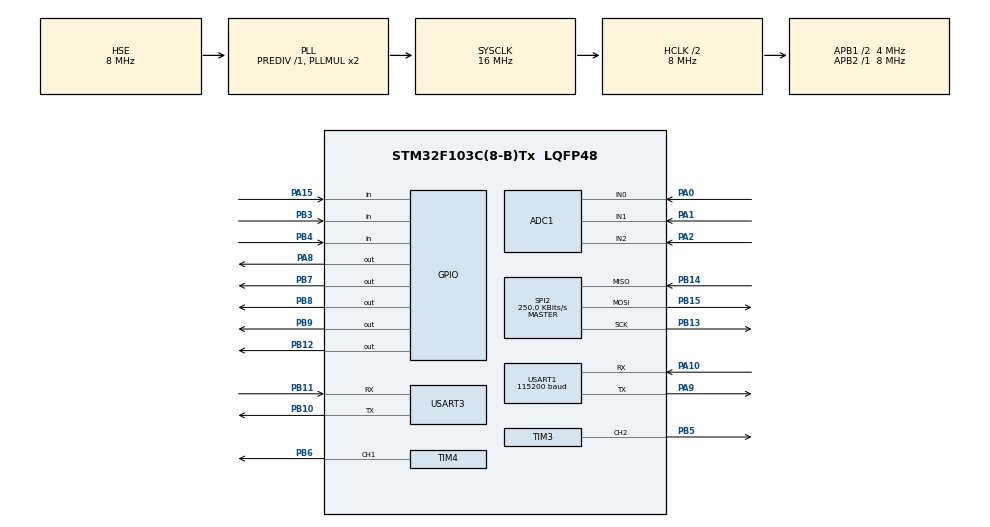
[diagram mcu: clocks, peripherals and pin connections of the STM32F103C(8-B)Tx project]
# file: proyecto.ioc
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ADC1.Channel-0\#ChannelRegularConversion=ADC_CHANNEL_0
ADC1.Channel-1\#ChannelRegularConversion=ADC_CHANNEL_1
ADC1.Channel-2\#ChannelRegularConversion=ADC_CHANNEL_2
ADC1.ContinuousConvMode=ENABLE
ADC1.NbrOfConversion=3
ADC1.NbrOfConversionFlag=1
ADC1.Rank-0\#ChannelRegularConversion=1
ADC1.Rank-1\#ChannelRegularConversion=2
ADC1.Rank-2\#ChannelRegularConversion=3
ADC1.SamplingTime-0\#ChannelRegularConversion=ADC_SAMPLETIME_55CYCLES_5
ADC1.SamplingTime-1\#ChannelRegularConversion=ADC_SAMPLETIME_55CYCLES_5
ADC1.SamplingTime-2\#ChannelRegularConversion=ADC_SAMPLETIME_55CYCLES_5
ADC1.master=1
FREERTOS.Tasks01=defaultTask,0,128,StartDefaultTask,Default,NULL,Dynamic,NULL,NULL
Mcu.Family=STM32F1
Mcu.Name=STM32F103C(8-B)Tx
Mcu.Package=LQFP48
NVIC.ADC1_2_IRQn=true\:5\:0\:false\:false\:true\:true\:true\:true\:true
NVIC.PriorityGroup=NVIC_PRIORITYGROUP_4
NVIC.USART3_IRQn=true\:5\:0\:false\:false\:true\:true\:true\:true\:true
PA0-WKUP.Signal=ADCx_IN0
PA1.Signal=ADCx_IN1
PA10.Mode=Asynchronous
PA10.Signal=USART1_RX
PA13.Mode=Serial_Wire
PA13.Signal=SYS_JTMS-SWDIO
PA14.Mode=Serial_Wire
PA14.Signal=SYS_JTCK-SWCLK
PA15.GPIO_PuPd=GPIO_PULLDOWN
PA15.Signal=GPIO_Input
PA2.Signal=ADCx_IN2
PA8.Signal=GPIO_Output
PA9.Mode=Asynchronous
PA9.Signal=USART1_TX
PB10.Mode=Asynchronous
PB10.Signal=USART3_TX
PB11.Mode=Asynchronous
PB11.Signal=USART3_RX
PB12.Signal=GPIO_Output
PB13.Mode=Full_Duplex_Master
PB13.Signal=SPI2_SCK
PB14.Mode=Full_Duplex_Master
PB14.Signal=SPI2_MISO
PB15.Mode=Full_Duplex_Master
PB15.Signal=SPI2_MOSI
PB3.GPIO_PuPd=GPIO_PULLDOWN
PB3.Signal=GPIO_Input
PB4.GPIO_PuPd=GPIO_PULLDOWN
PB4.Signal=GPIO_Input
PB5.Signal=S_TIM3_CH2
PB6.Signal=S_TIM4_CH1
PB7.Signal=GPIO_Output
PB8.Signal=GPIO_Output
PB9.Signal=GPIO_Output
PD0-OSC_IN.Mode=HSE-External-Oscillator
PD0-OSC_IN.Signal=RCC_OSC_IN
PD1-OSC_OUT.Mode=HSE-External-Oscillator
PD1-OSC_OUT.Signal=RCC_OSC_OUT
ProjectManager.HeapSize=0x200
ProjectManager.StackSize=0x400
ProjectManager.TargetToolchain=STM32CubeIDE
RCC.ADCPresc=RCC_ADCPCLK2_DIV6
RCC.AHBCLKDivider=RCC_SYSCLK_DIV2
RCC.AHBFreq_Value=8000000
RCC.APB1CLKDivider=RCC_HCLK_DIV2
RCC.APB1Freq_Value=4000000
RCC.APB1TimFreq_Value=8000000
RCC.APB2Freq_Value=8000000
RCC.APB2TimFreq_Value=8000000
RCC.HCLKFreq_Value=8000000
RCC.PLLSourceVirtual=RCC_PLLSOURCE_HSE
RCC.SYSCLKFreq_VALUE=16000000
RCC.SYSCLKSource=RCC_SYSCLKSOURCE_PLLCLK
RCC.USBFreq_Value=16000000
SH.ADCx_IN0.0=ADC1_IN0,IN0
SH.ADCx_IN1.0=ADC1_IN1,IN1
SH.ADCx_IN2.0=ADC1_IN2,IN2
SH.S_TIM3_CH2.0=TIM3_CH2,PWM Generation2 CH2
SH.S_TIM4_CH1.0=TIM4_CH1,PWM Generation1 CH1
SPI2.BaudRatePrescaler=SPI_BAUDRATEPRESCALER_16
SPI2.CalculateBaudRate=250.0 KBits/s
SPI2.DataSize=SPI_DATASIZE_8BIT
SPI2.Direction=SPI_DIRECTION_2LINES
SPI2.Mode=SPI_MODE_MASTER
SPI2.VirtualType=VM_MASTER
TIM3.Channel-PWM\ Generation2\ CH2=TIM_CHANNEL_2
TIM3.Period=255
TIM3.Prescaler=2
TIM4.Channel-PWM\ Generation1\ CH1=TIM_CHANNEL_1
TIM4.Period=255
TIM4.Prescaler=2
USART1.BaudRate=115200
USART1.VirtualMode=VM_ASYNC
USART3.VirtualMode=VM_ASYNC
VP_FREERTOS_VS_CMSIS_V1.Mode=CMSIS_V1
board=custom

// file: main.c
/* USER CODE BEGIN Header */
/**
  ******************************************************************************
  * @file           : main.c
  * @brief          : Main program body
  ******************************************************************************
  * @attention
  *
  * <h2><center>&copy; Copyright (c) 2025 STMicroelectronics.
  * All rights reserved.</center></h2>
  *
  * This software component is licensed by ST under BSD 3-Clause license,
  * the "License"; You may not use this file except in compliance with the
  * License. You may obtain a copy of the License at:
  *                        opensource.org/licenses/BSD-3-Clause
  *
  ******************************************************************************
  */
/* USER CODE END Header */
#include "main.h"
#include "cmsis_os.h"

/* USER CODE BEGIN Includes */
#include <string.h>
#include <stdlib.h>
#include "bmp280.h"

/* USER CODE END Includes */

ADC_HandleTypeDef hadc1;

SPI_HandleTypeDef hspi2;

TIM_HandleTypeDef htim3;
TIM_HandleTypeDef htim4;

UART_HandleTypeDef huart1;
UART_HandleTypeDef huart3;

osThreadId defaultTaskHandle;
/* USER CODE BEGIN PV */
osThreadId uart1TaskHandle;
osThreadId uart3TaskHandle;
osThreadId entradasDatosTaskHandle;
osThreadId salidasDatosTaskHandle;
/* USER CODE END PV */

void SystemClock_Config(void);
static void MX_GPIO_Init(void);
static void MX_USART3_UART_Init(void);
static void MX_SPI2_Init(void);
static void MX_ADC1_Init(void);
static void MX_TIM3_Init(void);
static void MX_TIM4_Init(void);
static void MX_USART1_UART_Init(void);

/* USER CODE BEGIN PFP */

void StartUart1Task(void const * argument);
void StartUart3Task(void const * argument);
void StartEntradasDatosTask(void const * argument);
void StartSalidasDatosTask(void const * argument);
/* USER CODE END PFP */

/* USER CODE BEGIN 0 */
#define STX 2

volatile uint8_t transmitiendo_tx3 = 0; // bandera para transmitir un mensaje a la vez por TX3
uint8_t crc_valido = 0;

// Cadena de bytes de transmision para serial
// 1 byte de start
// 6 bytes entradas analogicas
// 1 byte entradas digitales
// 1 byte temperatura en grados
// 2 bytes presión en hPa
// 1 byte de CRC
uint8_t transmision[12] = {STX, 0, 0, 0, 0, 0, 0, 0, 0, 0, 0, 0};

// Cadena de bytes de recepcion para serial

// 1 byte salidas
// 2 bytes PWM
// 1 byte de CRC
uint8_t recepcion[5] = {STX, 0, 0, 0, 0};

uint8_t calcular_crc(uint8_t* cadena, uint8_t longitud) {

	const uint8_t poly = 0x07;
	uint8_t crc = 0x00;
	for (size_t i = 0; i < longitud; ++i) {
		crc ^= cadena[i];
		for (uint8_t j = 0; j < 8; ++j) {
			if (crc & 0x80)
				crc = (crc << 1) ^ poly;
			else
				crc <<= 1;
		}
	}
	return crc;
}

void HAL_UART_RxCpltCallback(UART_HandleTypeDef *huart)
{
	// Verificar CRC
	crc_valido = calcular_crc(recepcion, sizeof(recepcion)) == recepcion[4];

	HAL_UART_Receive_IT(huart, recepcion, sizeof(recepcion)); // volver a esperar datos
}

void HAL_UART_TxCpltCallback(UART_HandleTypeDef *huart)
{
	// Se ejecuta cuando la transmisión finaliza
	if (huart->Instance == USART3)
  {
		transmitiendo_tx3 = 0; // Establece la bandera cuando la transmisión finaliza
  }
}

/* USER CODE END 0 */

int main(void)
{

  /* MCU Configuration--------------------------------------------------------*/

  /* Reset of all peripherals, Initializes the Flash interface and the Systick. */
  HAL_Init();

  /* Configure the system clock */
  SystemClock_Config();

  /* Initialize all configured peripherals */
  MX_GPIO_Init();
  MX_USART3_UART_Init();
  MX_SPI2_Init();
  MX_ADC1_Init();
  MX_TIM3_Init();
  MX_TIM4_Init();
  MX_USART1_UART_Init();
  /* USER CODE BEGIN 2 */

  // Inicialización timers PWM
  HAL_TIM_PWM_Start(&htim3, TIM_CHANNEL_2);  // PB5
  HAL_TIM_PWM_Start(&htim4, TIM_CHANNEL_1);  // PB6

  HAL_ADC_Start(&hadc1);  // Inicia la conversión continua

  // Inicio sensor BMP280
  //BMP280_Init(&hspi2, GPIOB, GPIO_PIN_12);

  /* USER CODE END 2 */

  /* USER CODE BEGIN RTOS_THREADS */
  /* add threads, ... */
  osThreadDef(uart3Task, StartUart3Task, osPriorityHigh, 0, 128);
  uart3TaskHandle = osThreadCreate(osThread(uart3Task), NULL);

  osThreadDef(uart1Task, StartUart1Task, osPriorityHigh, 0, 128);
  uart1TaskHandle = osThreadCreate(osThread(uart1Task), NULL);

  osThreadDef(salidasDatosTask, StartSalidasDatosTask, osPriorityNormal, 0, 128);
  salidasDatosTaskHandle = osThreadCreate(osThread(salidasDatosTask), NULL);

  osThreadDef(entradasDatosTask, StartEntradasDatosTask, osPriorityNormal, 0, 128);
  entradasDatosTaskHandle = osThreadCreate(osThread(entradasDatosTask), NULL);

  /* USER CODE END RTOS_THREADS */

  /* Start scheduler */
  osKernelStart();

  /* We should never get here as control is now taken by the scheduler */

  /* Infinite loop */
  while (1)
  {

  }
}

void SystemClock_Config(void)
{
  RCC_OscInitTypeDef RCC_OscInitStruct = {0};
  RCC_ClkInitTypeDef RCC_ClkInitStruct = {0};
  RCC_PeriphCLKInitTypeDef PeriphClkInit = {0};

  /** Initializes the RCC Oscillators according to the specified parameters
  * in the RCC_OscInitTypeDef structure.
  */
  RCC_OscInitStruct.OscillatorType = RCC_OSCILLATORTYPE_HSE;
  RCC_OscInitStruct.HSEState = RCC_HSE_ON;
  RCC_OscInitStruct.HSEPredivValue = RCC_HSE_PREDIV_DIV1;
  RCC_OscInitStruct.HSIState = RCC_HSI_ON;
  RCC_OscInitStruct.PLL.PLLState = RCC_PLL_ON;
  RCC_OscInitStruct.PLL.PLLSource = RCC_PLLSOURCE_HSE;
  RCC_OscInitStruct.PLL.PLLMUL = RCC_PLL_MUL2;
  if (HAL_RCC_OscConfig(&RCC_OscInitStruct) != HAL_OK)
  {
    Error_Handler();
  }

  /** Initializes the CPU, AHB and APB buses clocks
  */
  RCC_ClkInitStruct.ClockType = RCC_CLOCKTYPE_HCLK|RCC_CLOCKTYPE_SYSCLK
                              |RCC_CLOCKTYPE_PCLK1|RCC_CLOCKTYPE_PCLK2;
  RCC_ClkInitStruct.SYSCLKSource = RCC_SYSCLKSOURCE_PLLCLK;
  RCC_ClkInitStruct.AHBCLKDivider = RCC_SYSCLK_DIV2;
  RCC_ClkInitStruct.APB1CLKDivider = RCC_HCLK_DIV2;
  RCC_ClkInitStruct.APB2CLKDivider = RCC_HCLK_DIV1;

  if (HAL_RCC_ClockConfig(&RCC_ClkInitStruct, FLASH_LATENCY_0) != HAL_OK)
  {
    Error_Handler();
  }
  PeriphClkInit.PeriphClockSelection = RCC_PERIPHCLK_ADC;
  PeriphClkInit.AdcClockSelection = RCC_ADCPCLK2_DIV6;
  if (HAL_RCCEx_PeriphCLKConfig(&PeriphClkInit) != HAL_OK)
  {
    Error_Handler();
  }
}

static void MX_ADC1_Init(void)
{

  ADC_ChannelConfTypeDef sConfig = {0};

  /** Common config
  */
  hadc1.Instance = ADC1;
  hadc1.Init.ScanConvMode = ADC_SCAN_ENABLE;
  hadc1.Init.ContinuousConvMode = ENABLE;
  hadc1.Init.DiscontinuousConvMode = DISABLE;
  hadc1.Init.ExternalTrigConv = ADC_SOFTWARE_START;
  hadc1.Init.DataAlign = ADC_DATAALIGN_RIGHT;
  hadc1.Init.NbrOfConversion = 3;
  if (HAL_ADC_Init(&hadc1) != HAL_OK)
  {
    Error_Handler();
  }

  /** Configure Regular Channel
  */
  sConfig.Channel = ADC_CHANNEL_0;
  sConfig.Rank = ADC_REGULAR_RANK_1;
  sConfig.SamplingTime = ADC_SAMPLETIME_55CYCLES_5;
  if (HAL_ADC_ConfigChannel(&hadc1, &sConfig) != HAL_OK)
  {
    Error_Handler();
  }

  /** Configure Regular Channel
  */
  sConfig.Channel = ADC_CHANNEL_1;
  sConfig.Rank = ADC_REGULAR_RANK_2;
  if (HAL_ADC_ConfigChannel(&hadc1, &sConfig) != HAL_OK)
  {
    Error_Handler();
  }

  /** Configure Regular Channel
  */
  sConfig.Channel = ADC_CHANNEL_2;
  sConfig.Rank = ADC_REGULAR_RANK_3;
  if (HAL_ADC_ConfigChannel(&hadc1, &sConfig) != HAL_OK)
  {
    Error_Handler();
  }

}

static void MX_SPI2_Init(void)
{

  /* SPI2 parameter configuration*/
  hspi2.Instance = SPI2;
  hspi2.Init.Mode = SPI_MODE_MASTER;
  hspi2.Init.Direction = SPI_DIRECTION_2LINES;
  hspi2.Init.DataSize = SPI_DATASIZE_16BIT;
  hspi2.Init.CLKPolarity = SPI_POLARITY_LOW;
  hspi2.Init.CLKPhase = SPI_PHASE_1EDGE;
  hspi2.Init.NSS = SPI_NSS_SOFT;
  hspi2.Init.BaudRatePrescaler = SPI_BAUDRATEPRESCALER_2;
  hspi2.Init.FirstBit = SPI_FIRSTBIT_MSB;
  hspi2.Init.TIMode = SPI_TIMODE_DISABLE;
  hspi2.Init.CRCCalculation = SPI_CRCCALCULATION_DISABLE;
  hspi2.Init.CRCPolynomial = 10;
  if (HAL_SPI_Init(&hspi2) != HAL_OK)
  {
    Error_Handler();
  }

}

static void MX_TIM3_Init(void)
{

  TIM_MasterConfigTypeDef sMasterConfig = {0};
  TIM_OC_InitTypeDef sConfigOC = {0};

  htim3.Instance = TIM3;
  htim3.Init.Prescaler = 2;
  htim3.Init.CounterMode = TIM_COUNTERMODE_UP;
  htim3.Init.Period = 255;
  htim3.Init.ClockDivision = TIM_CLOCKDIVISION_DIV1;
  htim3.Init.AutoReloadPreload = TIM_AUTORELOAD_PRELOAD_DISABLE;
  if (HAL_TIM_PWM_Init(&htim3) != HAL_OK)
  {
    Error_Handler();
  }
  sMasterConfig.MasterOutputTrigger = TIM_TRGO_RESET;
  sMasterConfig.MasterSlaveMode = TIM_MASTERSLAVEMODE_DISABLE;
  if (HAL_TIMEx_MasterConfigSynchronization(&htim3, &sMasterConfig) != HAL_OK)
  {
    Error_Handler();
  }
  sConfigOC.OCMode = TIM_OCMODE_PWM1;
  sConfigOC.Pulse = 0;
  sConfigOC.OCPolarity = TIM_OCPOLARITY_HIGH;
  sConfigOC.OCFastMode = TIM_OCFAST_DISABLE;
  if (HAL_TIM_PWM_ConfigChannel(&htim3, &sConfigOC, TIM_CHANNEL_2) != HAL_OK)
  {
    Error_Handler();
  }
  HAL_TIM_MspPostInit(&htim3);

}

static void MX_TIM4_Init(void)
{

  TIM_MasterConfigTypeDef sMasterConfig = {0};
  TIM_OC_InitTypeDef sConfigOC = {0};

  htim4.Instance = TIM4;
  htim4.Init.Prescaler = 2;
  htim4.Init.CounterMode = TIM_COUNTERMODE_UP;
  htim4.Init.Period = 255;
  htim4.Init.ClockDivision = TIM_CLOCKDIVISION_DIV1;
  htim4.Init.AutoReloadPreload = TIM_AUTORELOAD_PRELOAD_DISABLE;
  if (HAL_TIM_PWM_Init(&htim4) != HAL_OK)
  {
    Error_Handler();
  }
  sMasterConfig.MasterOutputTrigger = TIM_TRGO_RESET;
  sMasterConfig.MasterSlaveMode = TIM_MASTERSLAVEMODE_DISABLE;
  if (HAL_TIMEx_MasterConfigSynchronization(&htim4, &sMasterConfig) != HAL_OK)
  {
    Error_Handler();
  }
  sConfigOC.OCMode = TIM_OCMODE_PWM1;
  sConfigOC.Pulse = 0;
  sConfigOC.OCPolarity = TIM_OCPOLARITY_HIGH;
  sConfigOC.OCFastMode = TIM_OCFAST_DISABLE;
  if (HAL_TIM_PWM_ConfigChannel(&htim4, &sConfigOC, TIM_CHANNEL_1) != HAL_OK)
  {
    Error_Handler();
  }
  HAL_TIM_MspPostInit(&htim4);

}

static void MX_USART1_UART_Init(void)
{

  huart1.Instance = USART1;
  huart1.Init.BaudRate = 115200;
  huart1.Init.WordLength = UART_WORDLENGTH_8B;
  huart1.Init.StopBits = UART_STOPBITS_1;
  huart1.Init.Parity = UART_PARITY_NONE;
  huart1.Init.Mode = UART_MODE_TX_RX;
  huart1.Init.HwFlowCtl = UART_HWCONTROL_NONE;
  huart1.Init.OverSampling = UART_OVERSAMPLING_16;
  if (HAL_UART_Init(&huart1) != HAL_OK)
  {
    Error_Handler();
  }

}

static void MX_USART3_UART_Init(void)
{

  huart3.Instance = USART3;
  huart3.Init.BaudRate = 115200;
  huart3.Init.WordLength = UART_WORDLENGTH_8B;
  huart3.Init.StopBits = UART_STOPBITS_1;
  huart3.Init.Parity = UART_PARITY_NONE;
  huart3.Init.Mode = UART_MODE_TX_RX;
  huart3.Init.HwFlowCtl = UART_HWCONTROL_NONE;
  huart3.Init.OverSampling = UART_OVERSAMPLING_16;
  if (HAL_UART_Init(&huart3) != HAL_OK)
  {
    Error_Handler();
  }

}

static void MX_GPIO_Init(void)
{
  GPIO_InitTypeDef GPIO_InitStruct = {0};

  /* GPIO Ports Clock Enable */
  __HAL_RCC_GPIOD_CLK_ENABLE();
  __HAL_RCC_GPIOA_CLK_ENABLE();
  __HAL_RCC_GPIOB_CLK_ENABLE();

  /*Configure GPIO pin Output Level */
  HAL_GPIO_WritePin(GPIOA, GPIO_PIN_8, GPIO_PIN_RESET);

  /*Configure GPIO pin Output Level */
  HAL_GPIO_WritePin(GPIOB, GPIO_PIN_7|GPIO_PIN_8|GPIO_PIN_9, GPIO_PIN_RESET);

  /*Configure GPIO pin : PA8 */
  GPIO_InitStruct.Pin = GPIO_PIN_8;
  GPIO_InitStruct.Mode = GPIO_MODE_OUTPUT_PP;
  GPIO_InitStruct.Pull = GPIO_NOPULL;
  GPIO_InitStruct.Speed = GPIO_SPEED_FREQ_LOW;
  HAL_GPIO_Init(GPIOA, &GPIO_InitStruct);

  /*Configure GPIO pin : PA15 */
  GPIO_InitStruct.Pin = GPIO_PIN_15;
  GPIO_InitStruct.Mode = GPIO_MODE_INPUT;
  GPIO_InitStruct.Pull = GPIO_PULLDOWN;
  HAL_GPIO_Init(GPIOA, &GPIO_InitStruct);

  /*Configure GPIO pins : PB3 PB4 */
  GPIO_InitStruct.Pin = GPIO_PIN_3|GPIO_PIN_4;
  GPIO_InitStruct.Mode = GPIO_MODE_INPUT;
  GPIO_InitStruct.Pull = GPIO_PULLDOWN;
  HAL_GPIO_Init(GPIOB, &GPIO_InitStruct);

  /*Configure GPIO pins : PB7 PB8 PB9 */
  GPIO_InitStruct.Pin = GPIO_PIN_7|GPIO_PIN_8|GPIO_PIN_9;
  GPIO_InitStruct.Mode = GPIO_MODE_OUTPUT_PP;
  GPIO_InitStruct.Pull = GPIO_NOPULL;
  GPIO_InitStruct.Speed = GPIO_SPEED_FREQ_LOW;
  HAL_GPIO_Init(GPIOB, &GPIO_InitStruct);

}

/* USER CODE BEGIN 4 */
void StartUart1Task(void const * argument)
{
  /* USER CODE BEGIN 5 */
  /* Infinite loop */

  for(;;)
  {
	  // Habilito transmision.
	  // Deshabilito recepcion

		HAL_GPIO_WritePin(GPIOA, GPIO_PIN_8, GPIO_PIN_SET);
	  HAL_UART_Transmit(&huart1, transmision, sizeof(transmision), 10);
	  HAL_GPIO_WritePin(GPIOA, GPIO_PIN_8, GPIO_PIN_RESET);
	  HAL_UART_Receive(&huart1, recepcion, sizeof(recepcion), 500);

	  osDelay(1);
  }
  /* USER CODE END 5 */
}

void StartUart3Task(void const * argument)
{
  /* USER CODE BEGIN 5 */

	HAL_UART_Receive_IT(&huart3, recepcion, sizeof(recepcion));

	/* Infinite loop */
	for(;;)
	{

		if (!transmitiendo_tx3)
		{
			transmitiendo_tx3 = 1;
			HAL_UART_Transmit_IT(&huart3, transmision, sizeof(transmision));

			osDelay(500);
		}
	}
  /* USER CODE END 5 */
}

void StartEntradasDatosTask(void const * argument)
{
  /* USER CODE BEGIN 5 */
  /* Infinite loop */
  for(;;)
  {

	// Lectura ADC
	uint16_t valores_adc_PA[3]; // PA0 PA1 PA2

	for (int i = 0; i < 3; i++)
	{
		HAL_ADC_PollForConversion(&hadc1, HAL_MAX_DELAY);
		valores_adc_PA[i] = HAL_ADC_GetValue(&hadc1);
	}

	// Almacenar entradas analogicas
	// El byte menos significativo se encuentra en el indice mas chico del arreglo respuesta
	transmision[1] = valores_adc_PA[0] & 0xFF;
	transmision[2] = (valores_adc_PA[0] >> 8) & 0xFF;
	transmision[3] = valores_adc_PA[1] & 0xFF;
	transmision[4] = (valores_adc_PA[1] >> 8) & 0xFF;
	transmision[5] = valores_adc_PA[2] & 0xFF;
	transmision[6] = (valores_adc_PA[2] >> 8) & 0xFF;

	// Almacenar entradas digitales
	transmision[7] = HAL_GPIO_ReadPin(GPIOA, GPIO_PIN_15) == GPIO_PIN_SET;
	transmision[7] |= (HAL_GPIO_ReadPin(GPIOB, GPIO_PIN_3) == GPIO_PIN_SET) << 1;
	transmision[7] |= (HAL_GPIO_ReadPin(GPIOB, GPIO_PIN_4) == GPIO_PIN_SET) << 2;

	float temp_f = 0;//BMP280_ReadTemperature();   // °C
	float press_f =0;// BMP280_ReadPressure();     // hPa

	transmision[8] = (uint8_t)temp_f;
	transmision[9] = (((uint16_t)press_f) >> 8) & 0xFF;
	transmision[10] = ((uint16_t)press_f) & 0xFF;

	transmision[11] |= calcular_crc(transmision, 11);

	osDelay(1);
  }
  /* USER CODE END 5 */
}

void StartSalidasDatosTask(void const * argument)
{
  /* USER CODE BEGIN 5 */
  /* Infinite loop */

  for(;;)
  {
	// Recepcion de datos

		if (crc_valido) {
			// Seteo de entradas digitales
			if (recepcion[1] & 1) {
				HAL_GPIO_WritePin(GPIOB, GPIO_PIN_7, GPIO_PIN_SET);
			} else {
				HAL_GPIO_WritePin(GPIOB, GPIO_PIN_7, GPIO_PIN_RESET);
			}

			if ((recepcion[1] >> 1) & 1) {
				HAL_GPIO_WritePin(GPIOB, GPIO_PIN_8, GPIO_PIN_SET);
			} else {
				HAL_GPIO_WritePin(GPIOB, GPIO_PIN_8, GPIO_PIN_RESET);
			}

			if ((recepcion[1] >> 2) & 1) {
				HAL_GPIO_WritePin(GPIOB, GPIO_PIN_9, GPIO_PIN_SET);
			} else {
				HAL_GPIO_WritePin(GPIOB, GPIO_PIN_9, GPIO_PIN_RESET);
			}

			// Seteo de duty cycle del PWM
			__HAL_TIM_SET_COMPARE(&htim3, TIM_CHANNEL_2, recepcion[2]); // PB5
			__HAL_TIM_SET_COMPARE(&htim4, TIM_CHANNEL_1, recepcion[3]); // PB6
		}

    osDelay(1);
  }
  /* USER CODE END 5 */
}

void Error_Handler(void)
{
  __disable_irq();
  while (1)
  {
  }
}
